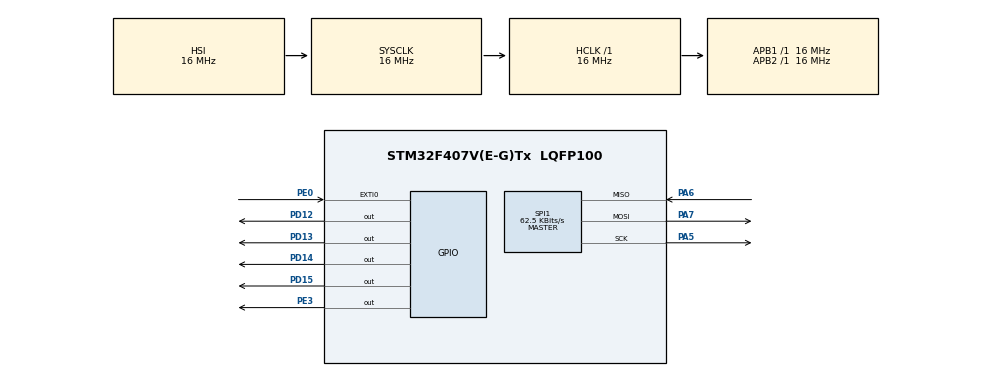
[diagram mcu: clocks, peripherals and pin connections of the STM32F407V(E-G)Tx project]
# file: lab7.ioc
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Mcu.Family=STM32F4
Mcu.Name=STM32F407V(E-G)Tx
Mcu.Package=LQFP100
NVIC.EXTI0_IRQn=true\:0\:0\:false\:false\:true\:true\:true\:true
NVIC.PriorityGroup=NVIC_PRIORITYGROUP_4
PA5.Mode=Full_Duplex_Master
PA5.Signal=SPI1_SCK
PA6.Mode=Full_Duplex_Master
PA6.Signal=SPI1_MISO
PA7.Mode=Full_Duplex_Master
PA7.Signal=SPI1_MOSI
PD12.Signal=GPIO_Output
PD13.Signal=GPIO_Output
PD14.Signal=GPIO_Output
PD15.Signal=GPIO_Output
PE0.Signal=GPXTI0
PE3.Signal=GPIO_Output
ProjectManager.HeapSize=0x200
ProjectManager.StackSize=0x400
ProjectManager.TargetToolchain=STM32CubeIDE
RCC.AHBFreq_Value=16000000
RCC.APB1Freq_Value=16000000
RCC.APB2Freq_Value=16000000
RCC.CortexFreq_Value=16000000
RCC.HSE_VALUE=25000000
RCC.HSI_VALUE=16000000
RCC.LSE_VALUE=32768
RCC.SYSCLKFreq_VALUE=16000000
RCC.VCOOutputFreq_Value=192000000
SPI1.BaudRatePrescaler=SPI_BAUDRATEPRESCALER_256
SPI1.CalculateBaudRate=62.5 KBits/s
SPI1.Direction=SPI_DIRECTION_2LINES
SPI1.Mode=SPI_MODE_MASTER
SPI1.VirtualType=VM_MASTER
board=custom

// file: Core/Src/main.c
/* USER CODE BEGIN Header */
/**
  ******************************************************************************
  * @file           : main.c
  * @brief          : Main program body
  ******************************************************************************
  * @attention
  *
  * Copyright (c) 2024 STMicroelectronics.
  * All rights reserved.
  *
  * This software is licensed under terms that can be found in the LICENSE file
  * in the root directory of this software component.
  * If no LICENSE file comes with this software, it is provided AS-IS.
  *
  ******************************************************************************
  */
/* USER CODE END Header */
#include "main.h"

/* USER CODE BEGIN Includes */

#include "MY_LIS3DSH.h"

/* USER CODE END Includes */

/* USER CODE BEGIN PD */

#define GREEN_Pin GPIO_PIN_12
#define ORANGE_Pin GPIO_PIN_13
#define RED_Pin GPIO_PIN_14
#define BLUE_Pin GPIO_PIN_15
#define GPIO_Port GPIOD

/* USER CODE END PD */

SPI_HandleTypeDef hspi1;

/* USER CODE BEGIN PV */

uint8_t drdyFlag = 0;

/* USER CODE END PV */

void SystemClock_Config(void);
static void MX_GPIO_Init(void);
static void MX_SPI1_Init(void);

/* USER CODE BEGIN 0 */

// Used in scope of interrupt
void HAL_GPIO_EXTI_Callback(uint16_t GPIO_Pin) {
	(void)GPIO_Pin;
	drdyFlag = 1;
}

/* USER CODE END 0 */

int main(void)
{

  /* MCU Configuration--------------------------------------------------------*/

  /* Reset of all peripherals, Initializes the Flash interface and the Systick. */
  HAL_Init();

  /* Configure the system clock */
  SystemClock_Config();

  /* Initialize all configured peripherals */
  MX_GPIO_Init();
  MX_SPI1_Init();
  /* USER CODE BEGIN 2 */

  LIS3DSH_InitTypeDef accInitDef = {
		  .dataRate = LIS3DSH_DATARATE_25,
		  .fullScale = LIS3DSH_FULLSCALE_4,
		  .antiAliasingBW = LIS3DSH_DATARATE_25,
		  .enableAxes = LIS3DSH_XYZ_ENABLE,
		  .interruptEnable = true,
  };
  LIS3DSH_Init(&hspi1, &accInitDef);

  LIS3DSH_X_calibrate(-1.0, 1.0);
  LIS3DSH_Y_calibrate(-1.0, 1.0);
  LIS3DSH_Z_calibrate(-1.0, 1.0);

  /* USER CODE END 2 */

  /* Infinite loop */
  /* USER CODE BEGIN WHILE */
  while (1)
  {
	  if (drdyFlag == 1) {
		  LIS3DSH_DataScaled data = LIS3DSH_GetDataScaled();
		  drdyFlag = 0;

		  HAL_GPIO_WritePin(GPIO_Port, ORANGE_Pin, GPIO_PIN_RESET);
		  HAL_GPIO_WritePin(GPIO_Port, GREEN_Pin, GPIO_PIN_RESET);
		  HAL_GPIO_WritePin(GPIO_Port, RED_Pin, GPIO_PIN_RESET);
		  HAL_GPIO_WritePin(GPIO_Port, BLUE_Pin, GPIO_PIN_RESET);

		  if (data.y >= 0) HAL_GPIO_WritePin(GPIO_Port, ORANGE_Pin, GPIO_PIN_SET);
		  if (data.y < 0) HAL_GPIO_WritePin(GPIO_Port, BLUE_Pin, GPIO_PIN_SET);
		  if (data.x >= 0) HAL_GPIO_WritePin(GPIO_Port, RED_Pin, GPIO_PIN_SET);
		  if (data.x < 0) HAL_GPIO_WritePin(GPIO_Port, GREEN_Pin, GPIO_PIN_SET);
	  }

    /* USER CODE END WHILE */

  }
}

void SystemClock_Config(void)
{
  RCC_OscInitTypeDef RCC_OscInitStruct = {0};
  RCC_ClkInitTypeDef RCC_ClkInitStruct = {0};

  /** Configure the main internal regulator output voltage
  */
  __HAL_RCC_PWR_CLK_ENABLE();
  __HAL_PWR_VOLTAGESCALING_CONFIG(PWR_REGULATOR_VOLTAGE_SCALE1);

  /** Initializes the RCC Oscillators according to the specified parameters
  * in the RCC_OscInitTypeDef structure.
  */
  RCC_OscInitStruct.OscillatorType = RCC_OSCILLATORTYPE_HSI;
  RCC_OscInitStruct.HSIState = RCC_HSI_ON;
  RCC_OscInitStruct.HSICalibrationValue = RCC_HSICALIBRATION_DEFAULT;
  RCC_OscInitStruct.PLL.PLLState = RCC_PLL_NONE;
  if (HAL_RCC_OscConfig(&RCC_OscInitStruct) != HAL_OK)
  {
    Error_Handler();
  }

  /** Initializes the CPU, AHB and APB buses clocks
  */
  RCC_ClkInitStruct.ClockType = RCC_CLOCKTYPE_HCLK|RCC_CLOCKTYPE_SYSCLK
                              |RCC_CLOCKTYPE_PCLK1|RCC_CLOCKTYPE_PCLK2;
  RCC_ClkInitStruct.SYSCLKSource = RCC_SYSCLKSOURCE_HSI;
  RCC_ClkInitStruct.AHBCLKDivider = RCC_SYSCLK_DIV1;
  RCC_ClkInitStruct.APB1CLKDivider = RCC_HCLK_DIV1;
  RCC_ClkInitStruct.APB2CLKDivider = RCC_HCLK_DIV1;

  if (HAL_RCC_ClockConfig(&RCC_ClkInitStruct, FLASH_LATENCY_0) != HAL_OK)
  {
    Error_Handler();
  }
}

static void MX_SPI1_Init(void)
{

  /* SPI1 parameter configuration*/
  hspi1.Instance = SPI1;
  hspi1.Init.Mode = SPI_MODE_MASTER;
  hspi1.Init.Direction = SPI_DIRECTION_2LINES;
  hspi1.Init.DataSize = SPI_DATASIZE_8BIT;
  hspi1.Init.CLKPolarity = SPI_POLARITY_LOW;
  hspi1.Init.CLKPhase = SPI_PHASE_1EDGE;
  hspi1.Init.NSS = SPI_NSS_SOFT;
  hspi1.Init.BaudRatePrescaler = SPI_BAUDRATEPRESCALER_256;
  hspi1.Init.FirstBit = SPI_FIRSTBIT_MSB;
  hspi1.Init.TIMode = SPI_TIMODE_DISABLE;
  hspi1.Init.CRCCalculation = SPI_CRCCALCULATION_DISABLE;
  hspi1.Init.CRCPolynomial = 10;
  if (HAL_SPI_Init(&hspi1) != HAL_OK)
  {
    Error_Handler();
  }

}

static void MX_GPIO_Init(void)
{
  GPIO_InitTypeDef GPIO_InitStruct = {0};

  /* GPIO Ports Clock Enable */
  __HAL_RCC_GPIOE_CLK_ENABLE();
  __HAL_RCC_GPIOA_CLK_ENABLE();
  __HAL_RCC_GPIOD_CLK_ENABLE();

  /*Configure GPIO pin Output Level */
  HAL_GPIO_WritePin(GPIOE, GPIO_PIN_3, GPIO_PIN_RESET);

  /*Configure GPIO pin Output Level */
  HAL_GPIO_WritePin(GPIOD, GPIO_PIN_12|GPIO_PIN_13|GPIO_PIN_14|GPIO_PIN_15, GPIO_PIN_RESET);

  /*Configure GPIO pin : PE3 */
  GPIO_InitStruct.Pin = GPIO_PIN_3;
  GPIO_InitStruct.Mode = GPIO_MODE_OUTPUT_PP;
  GPIO_InitStruct.Pull = GPIO_NOPULL;
  GPIO_InitStruct.Speed = GPIO_SPEED_FREQ_LOW;
  HAL_GPIO_Init(GPIOE, &GPIO_InitStruct);

  /*Configure GPIO pins : PD12 PD13 PD14 PD15 */
  GPIO_InitStruct.Pin = GPIO_PIN_12|GPIO_PIN_13|GPIO_PIN_14|GPIO_PIN_15;
  GPIO_InitStruct.Mode = GPIO_MODE_OUTPUT_PP;
  GPIO_InitStruct.Pull = GPIO_NOPULL;
  GPIO_InitStruct.Speed = GPIO_SPEED_FREQ_LOW;
  HAL_GPIO_Init(GPIOD, &GPIO_InitStruct);

  /*Configure GPIO pin : PE0 */
  GPIO_InitStruct.Pin = GPIO_PIN_0;
  GPIO_InitStruct.Mode = GPIO_MODE_IT_RISING;
  GPIO_InitStruct.Pull = GPIO_NOPULL;
  HAL_GPIO_Init(GPIOE, &GPIO_InitStruct);

  /* EXTI interrupt init*/
  HAL_NVIC_SetPriority(EXTI0_IRQn, 0, 0);
  HAL_NVIC_EnableIRQ(EXTI0_IRQn);

}

void Error_Handler(void)
{
  __disable_irq();
  while (1)
  {
  }
}
